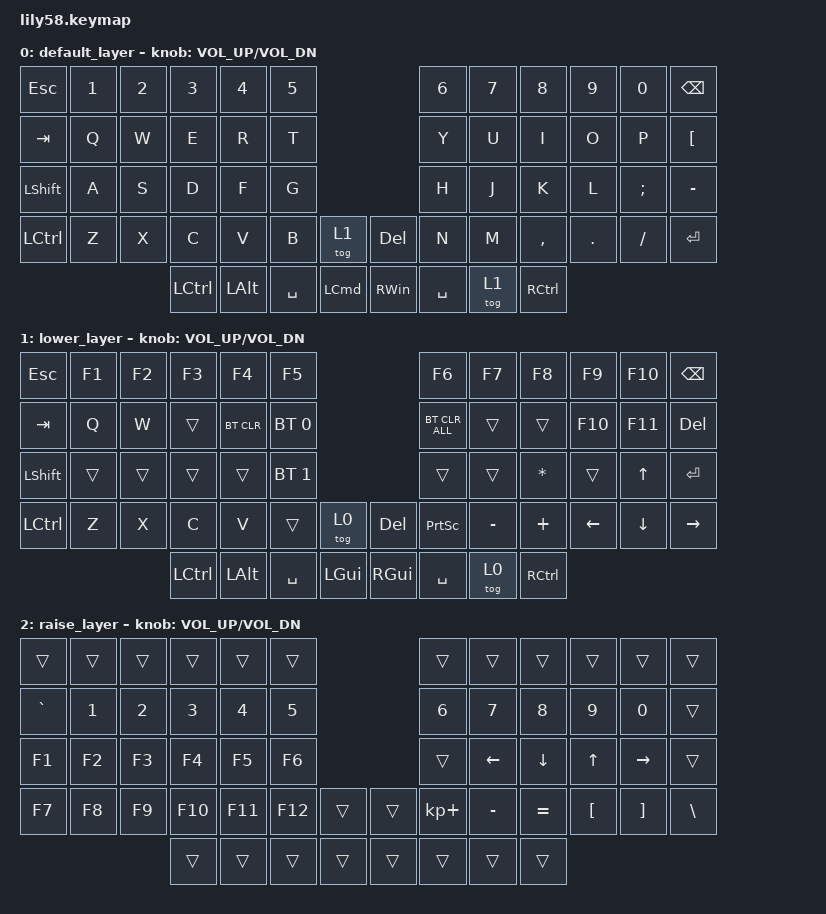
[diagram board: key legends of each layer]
/*
 * Copyright (c) 2020 The ZMK Contributors
 *
 * SPDX-License-Identifier: MIT
 */

#include <behaviors.dtsi>
#include <dt-bindings/zmk/bt.h>
#include <dt-bindings/zmk/keys.h>

/ {
    keymap {
        compatible = "zmk,keymap";

        default_layer {
            // ------------------------------------------------------------------------------------------------------------
            // |  ESC  |  1  |  2  |  3   |  4   |  5   |                   |  6   |  7    |  8    |  9   |   0   |   `   |
            // |  TAB  |  Q  |  W  |  E   |  R   |  T   |                   |  Y   |  U    |  I    |  O   |   P   |   -   |
            // |  CTRL |  A  |  S  |  D   |  F   |  G   |                   |  H   |  J    |  K    |  L   |   ;   |   '   |
            // | SHIFT |  Z  |  X  |  C   |  V   |  B   |   "["  |  |  "]"  |  N   |  M    |  ,    |  .   |   /   | SHIFT |
            //                     | ALT  | GUI  | LOWER|  SPACE |  | ENTER | RAISE| BSPC  | GUI   |

            bindings = <
&kp ESC           &kp N1  &kp N2  &kp N3     &kp N4        &kp N5                                        &kp N6     &kp N7  &kp N8     &kp N9   &kp N0    &kp BACKSPACE
&kp TAB           &kp Q   &kp W   &kp E      &kp R         &kp T                                         &kp Y      &kp U   &kp I      &kp O    &kp P     &kp LBKT
&kp LEFT_SHIFT    &kp A   &kp S   &kp D      &kp F         &kp G                                         &kp H      &kp J   &kp K      &kp L    &kp SEMI  &kp MINUS
&kp LEFT_CONTROL  &kp Z   &kp X   &kp C      &kp V         &kp B      &tog 1              &kp DEL        &kp N      &kp M   &kp COMMA  &kp DOT  &kp FSLH  &kp ENTER
                                  &kp LCTRL  &kp LEFT_ALT  &kp SPACE  &kp LEFT_COMMAND    &kp RIGHT_WIN  &kp SPACE  &tog 1  &kp RCTRL
            >;

            sensor-bindings = <&inc_dec_kp C_VOL_UP C_VOL_DN>;
        };

        lower_layer {
            // ------------------------------------------------------------------------------------------------------------
            // | BTCLR | BT1 | BT2 |  BT3 |  BT4 |  BT5 |                   |      |       |       |      |       |       |
            // |  F1   |  F2 |  F3 |  F4  |  F5  |  F6  |                   |  F7  |  F8   |  F9   |  F10 |  F11  |  F12  |
            // |   `   |  !  |  @  |  #   |  $   |  %   |                   |  ^   |  &    |  *    |  (   |   )   |   ~   |
            // |       |     |     |      |      |      |        |  |       |      |  _    |  +    |  {   |   }   |  "|"  |
            //                     |      |      |      |        |  |       |      |       |       |

            bindings = <
&kp ESCAPE        &kp F1  &kp F2  &kp F3     &kp F4        &kp F5                                       &kp F6           &kp F7     &kp F8     &kp F9    &kp F10       &kp BACKSPACE
&kp TAB           &kp Q   &kp W   &trans     &bt BT_CLR    &bt BT_SEL 0                                 &bt BT_CLR_ALL   &trans     &trans     &kp F10   &kp F11       &kp DELETE
&kp LEFT_SHIFT    &trans  &trans  &trans     &trans        &bt BT_SEL 1                                 &trans           &trans     &kp ASTRK  &trans    &kp UP_ARROW  &kp ENTER
&kp LEFT_CONTROL  &kp Z   &kp X   &kp C      &kp V         &trans        &tog 0          &kp DELETE     &kp PRINTSCREEN  &kp MINUS  &kp PLUS   &kp LEFT  &kp DOWN      &kp RIGHT
                                  &kp LCTRL  &kp LEFT_ALT  &kp SPACE     &kp LEFT_GUI    &kp RIGHT_GUI  &kp SPACE        &tog 0     &kp RCTRL
            >;

            sensor-bindings = <&inc_dec_kp C_VOL_UP C_VOL_DN>;
        };

        raise_layer {
            // ------------------------------------------------------------------------------------------------------------
            // |       |     |     |      |      |      |                   |      |       |       |      |       |       |
            // |   `   |  1  |  2  |  3   |  4   |  5   |                   |  6   |   7   |   8   |  9   |   0   |       |
            // |   F1  |  F2 |  F3 |  F4  |  F5  |  F6  |                   |      |   <-  |   v   |  ^   |  ->   |       |
            // |   F7  |  F8 |  F9 |  F10 |  F11 |  F12 |        |  |       |  +   |   -   |   =   |  [   |   ]   |   \   |
            //                     |      |      |      |        |  |       |      |       |       |

            bindings = <
&trans     &trans  &trans  &trans   &trans   &trans                     &trans       &trans     &trans     &trans    &trans     &trans
&kp GRAVE  &kp N1  &kp N2  &kp N3   &kp N4   &kp N5                     &kp N6       &kp N7     &kp N8     &kp N9    &kp N0     &trans
&kp F1     &kp F2  &kp F3  &kp F4   &kp F5   &kp F6                     &trans       &kp LEFT   &kp DOWN   &kp UP    &kp RIGHT  &trans
&kp F7     &kp F8  &kp F9  &kp F10  &kp F11  &kp F12  &trans    &trans  &kp KP_PLUS  &kp MINUS  &kp EQUAL  &kp LBKT  &kp RBKT   &kp BSLH
                           &trans   &trans   &trans   &trans    &trans  &trans       &trans     &trans
            >;

            sensor-bindings = <&inc_dec_kp C_VOL_UP C_VOL_DN>;
        };
    };
};
